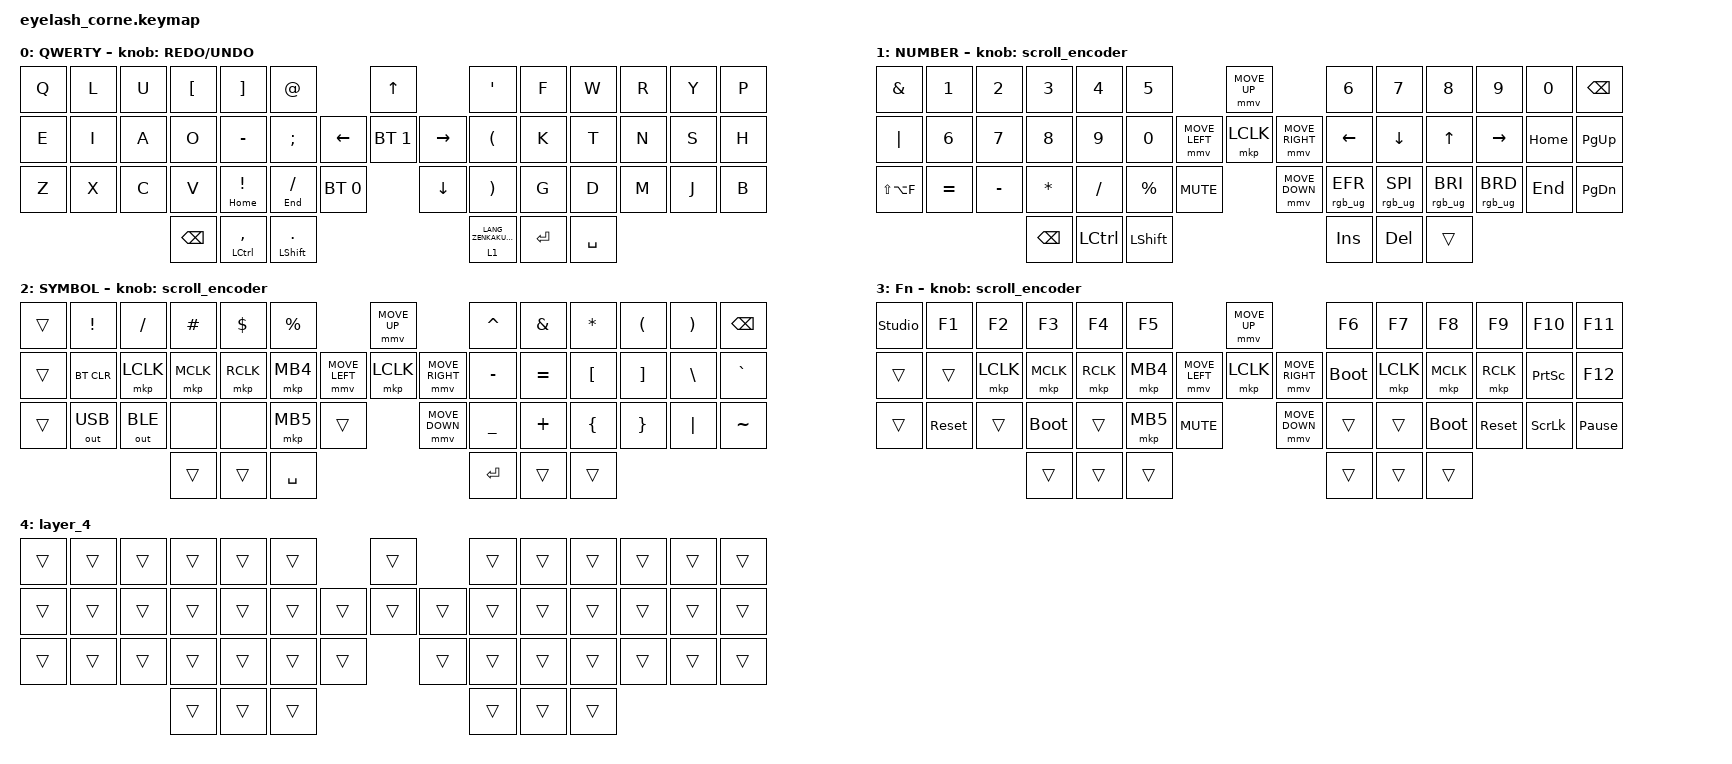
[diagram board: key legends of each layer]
#define ZMK_POINTING_DEFAULT_MOVE_VAL 1200  // 600
#define ZMK_POINTING_DEFAULT_SCRL_VAL 25   // 10

#include <input/processors.dtsi>
#include <zephyr/dt-bindings/input/input-event-codes.h>
#include <behaviors.dtsi>
#include <dt-bindings/zmk/bt.h>
#include <dt-bindings/zmk/keys.h>
#include <dt-bindings/zmk/outputs.h>
#include <dt-bindings/zmk/pointing.h>
#include <dt-bindings/zmk/rgb.h>

&mmv_input_listener { input-processors = <&zip_xy_scaler 2 1>; };

&msc_input_listener { input-processors = <&zip_scroll_scaler 2 1>; };

&msc {
    acceleration-exponent = <1>;      // 0
    time-to-max-speed-ms = <100>;       // 300
    delay-ms = <0>;                   // 0
};

&mmv {
    time-to-max-speed-ms = <500>;
    acceleration-exponent = <1>;
    trigger-period-ms = <16>;
};

&soft_off { hold-time-ms = <2000>; };

/ {
    behaviors {
        td0: td0 {
            compatible = "zmk,behavior-tap-dance";
            display-name = "Shift/Caps Lock Tap Dance";
            #binding-cells = <0>;
            bindings = <&kp LEFT_SHIFT>, <&kp CAPS>;
        };
    };

    rgb_encoder: rgb_encoder {
        compatible = "zmk,behavior-sensor-rotate";
        #sensor-binding-cells = <0>;
        bindings = <&rgb_ug RGB_BRI>, <&rgb_ug RGB_BRD>;
    };

    scroll_encoder: scroll_encoder {
        compatible = "zmk,behavior-sensor-rotate";
        #sensor-binding-cells = <0>;
        bindings = <&msc SCRL_DOWN>, <&msc SCRL_UP>;

        tap-ms = <100>;
    };

    combos {
        compatible = "zmk,combos";

        softoff {
            bindings = <&soft_off>;
            key-positions = <1 15 29>;
        };
    };

    keymap {
        compatible = "zmk,keymap";

        default_layer {
            display-name = "QWERTY";
            bindings = <
&kp Q  &kp L  &kp U  &kp LEFT_BRACKET  &kp RIGHT_BRACKET     &kp AT                                           &kp UP                   &kp SQT                    &kp F      &kp W      &kp R  &kp Y  &kp P
&kp E  &kp I  &kp A  &kp O             &kp MINUS             &kp SEMICOLON                          &kp LEFT  &bt BT_SEL 1  &kp RIGHT  &kp LEFT_PARENTHESIS       &kp K      &kp T      &kp N  &kp S  &kp H
&kp Z  &kp X  &kp C  &kp V             &mt HOME EXCLAMATION  &mt END SLASH          &bt BT_SEL 0              &kp DOWN                 &kp RIGHT_PARENTHESIS      &kp G      &kp D      &kp M  &kp J  &kp B
                     &kp BACKSPACE     &mt LCTRL COMMA       &mt LEFT_SHIFT PERIOD                                                     &lt 1 LANG_ZENKAKUHANKAKU  &kp ENTER  &kp SPACE
            >;

            sensor-bindings = <&inc_dec_kp K_REDO K_UNDO>;
        };

        lower_layer {
            display-name = "NUMBER";
            bindings = <
&kp AMPERSAND  &kp N1        &kp N2        &kp N3         &kp N4        &kp N5                                        &mmv MOVE_UP                     &kp N6           &kp N7           &kp N8           &kp N9           &kp N0    &kp BSPC
&kp PIPE       &kp NUMBER_6  &kp NUMBER_7  &kp NUMBER_8   &kp NUMBER_9  &kp NUMBER_0                  &mmv MOVE_LEFT  &mkp LCLK       &mmv MOVE_RIGHT  &kp LEFT         &kp DOWN         &kp UP           &kp RIGHT        &kp HOME  &kp PG_UP
&kp LS(LA(F))  &kp EQUAL     &kp MINUS     &kp ASTERISK   &kp SLASH     &kp PERCENT     &kp C_MUTE                    &mmv MOVE_DOWN                   &rgb_ug RGB_EFR  &rgb_ug RGB_SPI  &rgb_ug RGB_BRI  &rgb_ug RGB_BRD  &kp END   &kp PG_DN
                                           &kp BACKSPACE  &kp LCTRL     &kp LEFT_SHIFT                                                                 &kp INS          &kp DEL          &trans
            >;

            sensor-bindings = <&scroll_encoder>;
        };

        raise_layer {
            display-name = "SYMBOL";
            bindings = <
&trans  &kp EXCL      &kp SLASH     &kp HASH   &kp DLLR   &kp PRCNT                            &mmv MOVE_UP                     &kp CARET  &kp AMPS   &kp ASTRK  &kp LPAR  &kp RPAR  &kp BSPC
&trans  &bt BT_CLR    &mkp LCLK     &mkp MCLK  &mkp RCLK  &mkp MB4             &mmv MOVE_LEFT  &mkp LCLK       &mmv MOVE_RIGHT  &kp MINUS  &kp EQUAL  &kp LBKT   &kp RBKT  &kp BSLH  &kp GRAVE
&trans  &out OUT_USB  &out OUT_BLE  &none      &none      &mkp MB5   &trans                    &mmv MOVE_DOWN                   &kp UNDER  &kp PLUS   &kp LBRC   &kp RBRC  &kp PIPE  &kp TILDE
                                    &trans     &trans     &kp SPACE                                                             &kp RET    &trans     &trans
            >;

            sensor-bindings = <&scroll_encoder>;
        };

        layer_3 {
            display-name = "Fn";
            bindings = <
&studio_unlock  &kp F1      &kp F2     &kp F3       &kp F4     &kp F5                                  &mmv MOVE_UP                     &kp F6       &kp F7     &kp F8       &kp F9      &kp F10          &kp F11
&trans          &trans      &mkp LCLK  &mkp MCLK    &mkp RCLK  &mkp MB4                &mmv MOVE_LEFT  &mkp LCLK       &mmv MOVE_RIGHT  &bootloader  &mkp LCLK  &mkp MCLK    &mkp RCLK   &kp PRINTSCREEN  &kp F12
&trans          &sys_reset  &trans     &bootloader  &trans     &mkp MB5  &kp C_MUTE                    &mmv MOVE_DOWN                   &trans       &trans     &bootloader  &sys_reset  &kp SCROLLLOCK   &kp PAUSE_BREAK
                                       &trans       &trans     &trans                                                                   &trans       &trans     &trans
            >;

            sensor-bindings = <&scroll_encoder>;
        };

        layer_4 {
            bindings = <
&trans  &trans  &trans  &trans  &trans  &trans                    &trans          &trans  &trans  &trans  &trans  &trans  &trans
&trans  &trans  &trans  &trans  &trans  &trans            &trans  &trans  &trans  &trans  &trans  &trans  &trans  &trans  &trans
&trans  &trans  &trans  &trans  &trans  &trans  &trans            &trans          &trans  &trans  &trans  &trans  &trans  &trans
                        &trans  &trans  &trans                                    &trans  &trans  &trans
            >;
        };
    };
};
